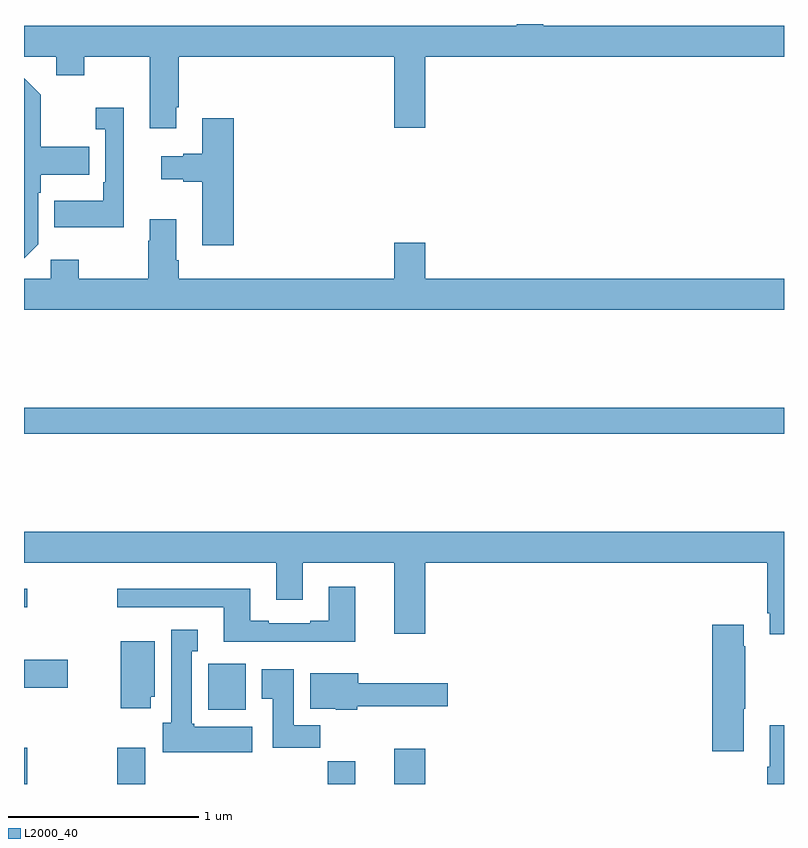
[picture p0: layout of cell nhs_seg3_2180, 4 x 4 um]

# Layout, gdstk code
import gdstk
lib = gdstk.Library(unit=1e-6, precision=1e-09)
def R(c, l, rs):  # rectangles x0, y0, x1, y1
    for r in rs: c.add(gdstk.rectangle(r[:2], r[2:], *l))
def P(c, l, *ps):  # polygons
    for p in ps: c.add(gdstk.Polygon(p, *l))
L2000_40 = (2000, 40)

nhs_seg3_2180 = lib.new_cell('nhs_seg3_2180')
R(nhs_seg3_2180, L2000_40, [(223,718.4,223.017,718.591), (223.492,718.4,223.639,718.591), (224.599,718.4,224.743,718.52), (224.948,718.4,225.112,718.585), (223.97,718.79,224.167,719.032), (223,718.907,223.231,719.054), (223,719.331,223.018,719.428), (223,720.244,227,720.38)])
P(nhs_seg3_2180, L2000_40, [(223,722.228),(223.169,722.228),(223.169,722.129),(223.317,722.129),(223.317,722.228),(223.661,722.228),(223.661,721.851),(223.801,721.851),(223.801,721.963),(223.814,721.963),(223.814,722.228),(224.948,722.228),(224.948,721.854),(225.112,721.854),(225.112,722.228),(227,722.228),(227,722.392),(225.733,722.392),(225.733,722.4),(225.593,722.4),(225.593,722.392),(223,722.392)],
  [(223.074,721.242),(223.074,721.511),(223.087,721.511),(223.087,721.607),(223.343,721.607),(223.343,721.755),(223.087,721.755),(223.087,722.027),(223,722.114),(223,721.168)],
  [(223.526,721.96),(223.377,721.96),(223.377,721.847),(223.428,721.847),(223.428,721.567),(223.416,721.567),(223.416,721.471),(223.159,721.471),(223.159,721.331),(223.526,721.331)],
  [(224.105,721.903),(223.937,721.903),(223.937,721.718),(223.838,721.718),(223.838,721.705),(223.722,721.705),(223.722,721.583),(223.838,721.583),(223.838,721.571),(223.937,721.571),(223.937,721.236),(224.105,721.236)],
  [(227,721.06),(225.112,721.06),(225.112,721.249),(224.948,721.249),(224.948,721.06),(223.814,721.06),(223.814,721.156),(223.801,721.156),(223.801,721.372),(223.661,721.372),(223.661,721.259),(223.654,721.259),(223.654,721.06),(223.287,721.06),(223.287,721.159),(223.14,721.159),(223.14,721.06),(223,721.06),(223,720.896),(227,720.896)],
  [(227,719.728),(223,719.728),(223,719.564),(224.327,719.564),(224.327,719.37),(224.467,719.37),(224.467,719.564),(224.948,719.564),(224.948,719.19),(225.112,719.19),(225.112,719.564),(226.913,719.564),(226.913,719.299),(226.925,719.299),(226.925,719.187),(227,719.187)],
  [(224.743,719.437),(224.603,719.437),(224.603,719.26),(224.507,719.26),(224.507,719.247),(224.287,719.247),(224.287,719.26),(224.191,719.26),(224.191,719.428),(223.491,719.428),(223.491,719.331),(224.051,719.331),(224.051,719.15),(224.743,719.15)],
  [(226.789,718.795),(226.797,718.795),(226.797,719.126),(226.789,719.126),(226.789,719.239),(226.622,719.239),(226.622,718.572),(226.789,718.572)],
  [(224.2,718.702),(223.896,718.702),(223.896,718.716),(223.882,718.716),(223.882,719.099),(223.915,719.099),(223.915,719.212),(223.775,719.212),(223.775,718.722),(223.73,718.722),(223.73,718.568),(224.2,718.568)],
  [(223.666,718.86),(223.687,718.86),(223.687,719.152),(223.508,719.152),(223.508,718.8),(223.666,718.8)],
  [(224.558,718.708),(224.419,718.708),(224.419,719.005),(224.252,719.005),(224.252,718.849),(224.309,718.849),(224.309,718.59),(224.558,718.59)],
  [(224.754,718.808),(225.229,718.808),(225.229,718.93),(224.758,718.93),(224.758,718.984),(224.507,718.984),(224.507,718.796),(224.64,718.796),(224.64,718.79),(224.754,718.79)],
  [(227,718.708),(226.925,718.708),(226.925,718.492),(226.913,718.492),(226.913,718.4),(227,718.4)])

lib.write_gds('nhs_seg3_2180.gds')
